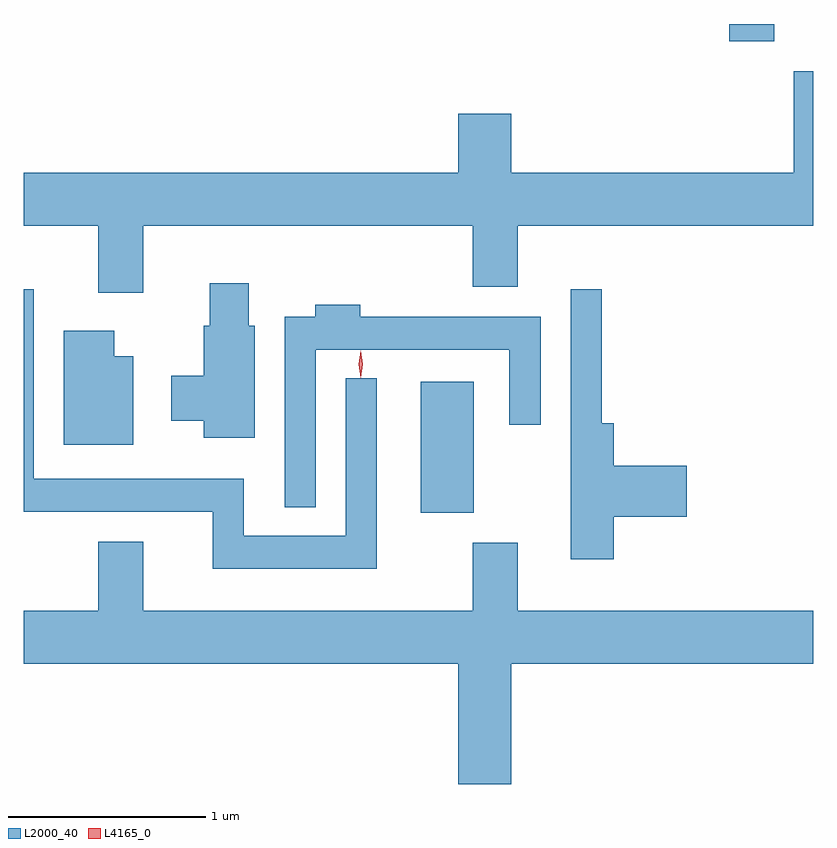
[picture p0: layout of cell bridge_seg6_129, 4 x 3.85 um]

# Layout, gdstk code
import gdstk
lib = gdstk.Library(unit=1e-6, precision=1e-09)
def R(c, l, rs):  # rectangles x0, y0, x1, y1
    for r in rs: c.add(gdstk.rectangle(r[:2], r[2:], *l))
def P(c, l, *ps):  # polygons
    for p in ps: c.add(gdstk.Polygon(p, *l))
L2000_40 = (2000, 40)
L4165_0 = (4165, 0)

bridge_seg6_129 = lib.new_cell('bridge_seg6_129')
R(bridge_seg6_129, L2000_40, [(1173.926,1617.401,1174.194,1618.064), (1175.491,1619.791,1175.719,1619.878)])
P(bridge_seg6_129, L2000_40, [(1172.519,1618.856),(1174.191,1618.856),(1174.191,1618.546),(1174.419,1618.546),(1174.419,1618.856),(1175.915,1618.856),(1175.915,1619.639),(1175.816,1619.639),(1175.816,1619.124),(1174.384,1619.124),(1174.384,1619.424),(1174.116,1619.424),(1174.116,1619.124),(1171.915,1619.124),(1171.915,1618.856),(1172.291,1618.856),(1172.291,1618.516),(1172.519,1618.516)],
  [(1173.084,1618.349),(1173.054,1618.349),(1173.054,1618.564),(1172.856,1618.564),(1172.856,1618.349),(1172.826,1618.349),(1172.826,1618.094),(1172.661,1618.094),(1172.661,1617.866),(1172.826,1617.866),(1172.826,1617.781),(1173.084,1617.781)],
  [(1174.904,1617.381),(1175.274,1617.381),(1175.274,1617.639),(1174.904,1617.639),(1174.904,1617.854),(1174.844,1617.854),(1174.844,1618.533),(1174.686,1618.533),(1174.686,1617.166),(1174.904,1617.166)],
  [(1173.704,1618.083),(1173.546,1618.083),(1173.546,1617.284),(1173.029,1617.284),(1173.029,1617.574),(1171.964,1617.574),(1171.964,1618.533),(1171.915,1618.533),(1171.915,1617.406),(1172.871,1617.406),(1172.871,1617.116),(1173.704,1617.116)],
  [(1173.394,1618.226),(1174.376,1618.226),(1174.376,1617.848),(1174.534,1617.848),(1174.534,1618.394),(1173.619,1618.394),(1173.619,1618.454),(1173.391,1618.454),(1173.391,1618.394),(1173.236,1618.394),(1173.236,1617.428),(1173.394,1617.428)],
  [(1172.469,1618.194),(1172.374,1618.194),(1172.374,1618.324),(1172.116,1618.324),(1172.116,1617.746),(1172.469,1617.746)],
  [(1174.384,1616.636),(1175.915,1616.636),(1175.915,1616.904),(1174.419,1616.904),(1174.419,1617.249),(1174.191,1617.249),(1174.191,1616.904),(1172.519,1616.904),(1172.519,1617.254),(1172.291,1617.254),(1172.291,1616.904),(1171.915,1616.904),(1171.915,1616.636),(1174.116,1616.636),(1174.116,1616.026),(1174.384,1616.026)])
P(bridge_seg6_129, L4165_0, [(1173.623,1618.083),(1173.622,1618.084),(1173.613,1618.153),(1173.622,1618.222),(1173.623,1618.223),(1173.623,1618.222),(1173.633,1618.153),(1173.623,1618.084)])

lib.write_gds('bridge_seg6_129.gds')
